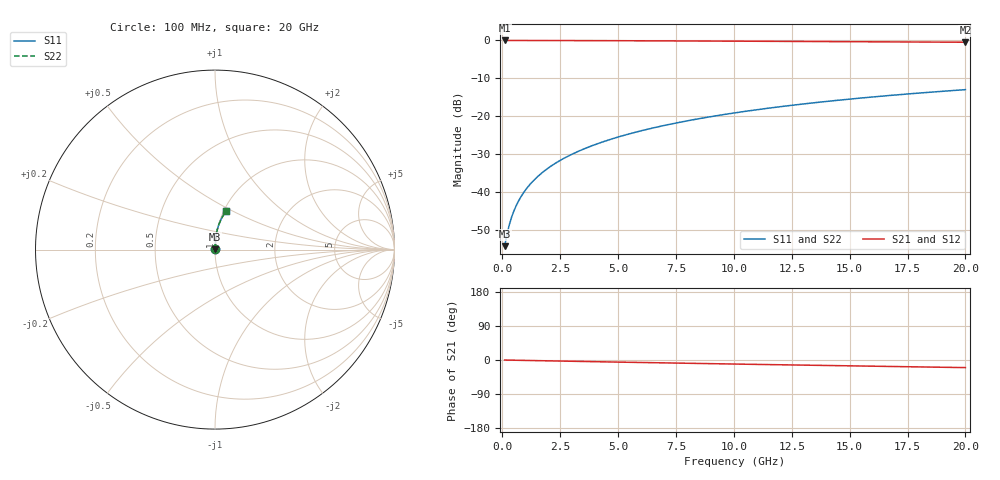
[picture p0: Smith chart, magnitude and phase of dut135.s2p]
! Touchstone file exported from HFSS 2024.1.0
!  File:  C:/UserFiles/LocalFiles/RDL_TSV_Batchsim/temp_RDL_top_135_1778684536.aedt
!  Generated:  11:04:39 PM May 13, 2026
!  Design:  RDL_top
!  Project:  temp_RDL_top_135_1778684536
!  Setup:  Setup1
!  Solution:  Sweep
! Variables:
!  dtsv = 10.80580581um
!  hbump = 3um
!  htsv = 73.01um
!  ldown = 100um
!  lrdl = 248.72um
!  p = 40
!  p1 = 46.82um
!  rhole = 1um
!  t = 450um
!  tdown = 3.915915916um
!  trdl = 3.35um
!  wdown = 15.38538539um
!  wrdl = 18.76um
# GHz S MA R 50.000000
! Terminal data exported
! Port[1] = Box2_T1
! Port[2] = Box2_T2
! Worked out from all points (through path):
!   200 points, 100 MHz to 20 GHz, reference 50 ohm
!   highest |S21| = -0.01 dB at 100 MHz (marker M1); lowest = -0.5 dB at 20 GHz (marker M2)
!   group delay of S21, straight-line fit = 2.77 ps
!   lowest |S11| = -54.1 dB at 100 MHz (marker M3), VSWR 1.00, Z = 50.2 + j0.113 ohm
!   |S11| at or under -10 dB: start of sweep to end of sweep
!   |S22| runs from -54.1 to -13.0 dB; largest |S21 - S12| = 2.9e-15
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0.1  0.001964 35.0  0.9984 -0.1  0.9984 -0.1  0.001964 35.0
! Gamma 0 0 0 0
! Port Impedance 50 0 50 0
0.2  0.00278 53.4  0.9983 -0.2  0.9983 -0.2  0.00278 53.4
0.3  0.003726 62.5  0.9983 -0.4  0.9983 -0.4  0.003726 62.5
0.4  0.004706 67.9  0.9982 -0.5  0.9982 -0.5  0.004706 67.9
0.5  0.005698 71.4  0.9981 -0.6  0.9981 -0.6  0.005698 71.4
0.6  0.006696 73.9  0.998 -0.7  0.998 -0.7  0.006696 73.9
0.8  0.008711 77.4  0.9979 -0.9  0.9979 -0.9  0.008711 77.4
1.1  0.01177 80.4  0.9977 -1.3  0.9977 -1.3  0.01177 80.4
1.3  0.01383 81.7  0.9975 -1.5  0.9975 -1.5  0.01383 81.7
1.6  0.01694 83.1  0.9972 -1.8  0.9972 -1.8  0.01694 83.1
2.1  0.02217 84.5  0.9967 -2.4  0.9967 -2.4  0.02217 84.5
2.7  0.02851 85.5  0.9958 -3.0  0.9958 -3.0  0.02851 85.5
3.5  0.03709 86.1  0.9945 -3.9  0.9945 -3.9  0.03709 86.1
4.2  0.04471 86.3  0.993 -4.7  0.993 -4.7  0.04471 86.3
5  0.05354 86.4  0.9912 -5.6  0.9912 -5.6  0.05354 86.4
5.9  0.06363 86.1  0.989 -6.5  0.989 -6.5  0.06362 86.1
6.8  0.07385 85.8  0.9866 -7.4  0.9866 -7.4  0.07384 85.8
8.4  0.09227 84.8  0.9821 -9.1  0.9821 -9.1  0.09227 84.8
10.1  0.1121 83.4  0.9771 -10.8  0.9771 -10.8  0.1121 83.4
13.4  0.1505 80.4  0.967 -13.9  0.967 -13.9  0.1505 80.4
16.7  0.1883 77.2  0.9567 -17.0  0.9567 -17.0  0.1883 77.2
20  0.225 73.9  0.9459 -20.1  0.9459 -20.1  0.225 73.9
